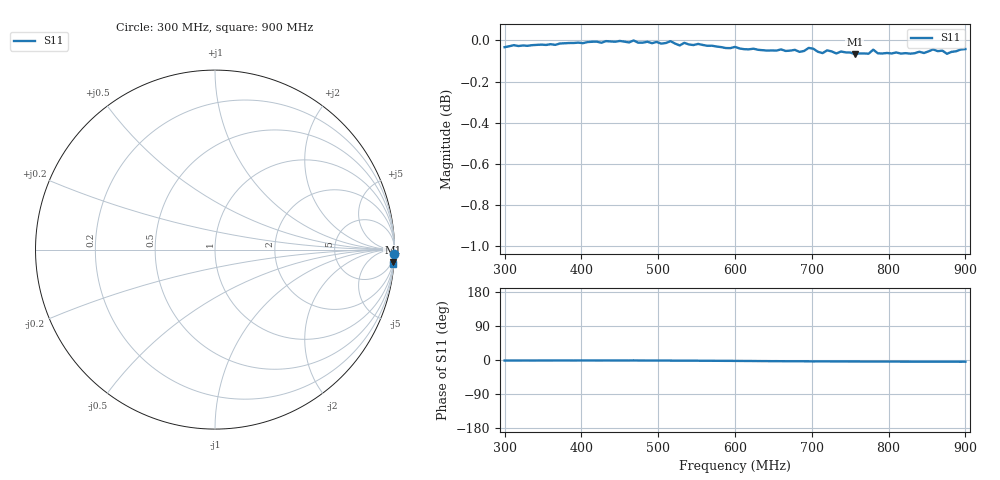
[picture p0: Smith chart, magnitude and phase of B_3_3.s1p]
# HZ S RI R 50
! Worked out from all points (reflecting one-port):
!   101 points, 300 MHz to 900 MHz, reference 50 ohm
!   lowest |S11| = -0.1 dB at 756 MHz (marker M1), VSWR 262.21, Z = 158 - j1.43e+03 ohm
!   phase of S11 starts at -1 deg and turns -3 deg over the sweep
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3e8  0.9959 -0.0244
3.78e8  0.9982 -0.0214
4.5e8  0.9994 -0.0225
4.62e8  0.9986 -0.023
4.68e8  0.9998 -0.0182
4.74e8  0.9984 -0.0235
5.16e8  0.9992 -0.0276
5.28e8  0.9967 -0.03
5.34e8  0.9982 -0.0306
6e8  0.9955 -0.0419
6.48e8  0.993 -0.0536
6.78e8  0.993 -0.0584
6.96e8  0.9939 -0.0608
7.02e8  0.9932 -0.065
7.14e8  0.9909 -0.0634
7.2e8  0.9924 -0.0633
7.5e8  0.9909 -0.0682
7.56e8  0.99 -0.0685
7.74e8  0.9901 -0.0706
7.8e8  0.9922 -0.0716
7.86e8  0.9903 -0.0709
8.28e8  0.9898 -0.0745
8.46e8  0.99 -0.0767
8.58e8  0.9921 -0.0756
8.64e8  0.991 -0.0778
8.76e8  0.9897 -0.075
8.94e8  0.9917 -0.0798
9e8  0.9921 -0.078
